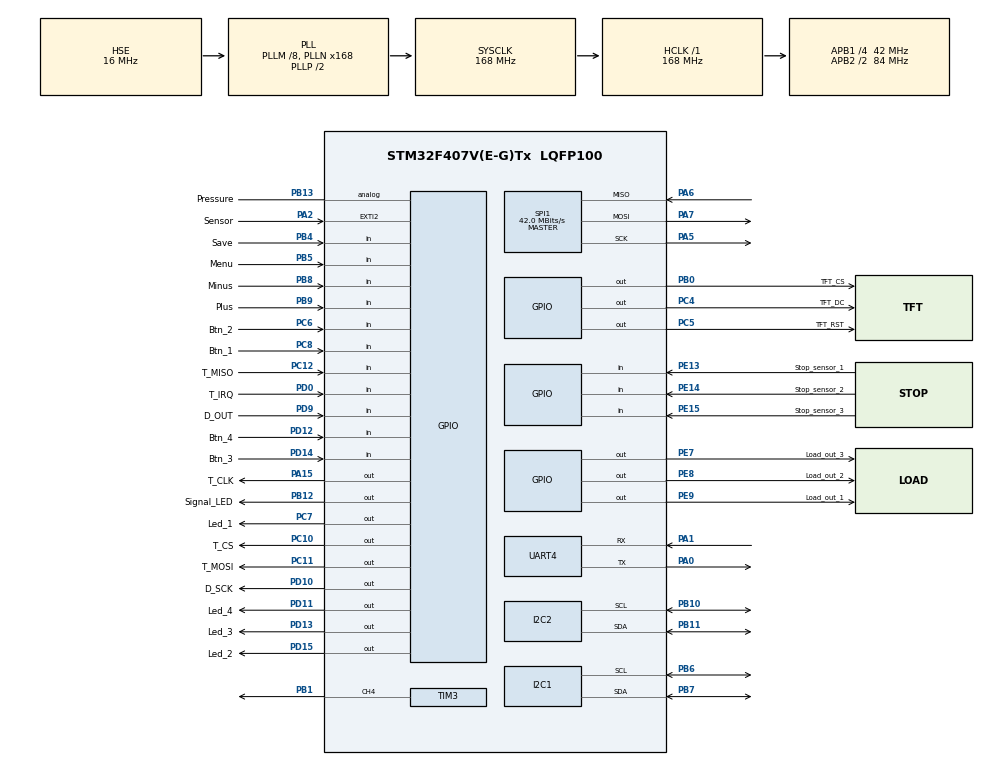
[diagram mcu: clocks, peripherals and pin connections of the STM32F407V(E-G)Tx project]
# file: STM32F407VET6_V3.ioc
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Mcu.Family=STM32F4
Mcu.Name=STM32F407V(E-G)Tx
Mcu.Package=LQFP100
NVIC.EXTI2_IRQn=true\:0\:0\:false\:false\:true\:true\:true
NVIC.PriorityGroup=NVIC_PRIORITYGROUP_4
NVIC.TIM1_UP_TIM10_IRQn=true\:0\:0\:false\:false\:true\:true\:true
NVIC.TIM2_IRQn=true\:0\:0\:false\:false\:true\:true\:true
NVIC.TIM3_IRQn=true\:0\:0\:false\:false\:true\:true\:true
PA0-WKUP.Mode=Asynchronous
PA0-WKUP.Signal=UART4_TX
PA1.Mode=Asynchronous
PA1.Signal=UART4_RX
PA13.Mode=Serial_Wire
PA13.Signal=SYS_JTMS-SWDIO
PA14.Mode=Serial_Wire
PA14.Signal=SYS_JTCK-SWCLK
PA15.GPIO_Label=T_CLK
PA15.Signal=GPIO_Output
PA2.GPIO_Label=Sensor
PA2.GPIO_PuPd=GPIO_PULLDOWN
PA2.Signal=GPXTI2
PA5.Mode=Full_Duplex_Master
PA5.Signal=SPI1_SCK
PA6.Mode=Full_Duplex_Master
PA6.Signal=SPI1_MISO
PA7.Mode=Full_Duplex_Master
PA7.Signal=SPI1_MOSI
PB0.GPIO_Label=TFT_CS
PB0.Signal=GPIO_Output
PB1.GPIO_Speed=GPIO_SPEED_FREQ_VERY_HIGH
PB1.Signal=S_TIM3_CH4
PB10.GPIO_Pu=GPIO_PULLUP
PB10.Mode=I2C
PB10.Signal=I2C2_SCL
PB11.GPIO_Pu=GPIO_PULLUP
PB11.Mode=I2C
PB11.Signal=I2C2_SDA
PB12.GPIO_Label=Signal_LED
PB12.GPIO_PuPd=GPIO_NOPULL
PB12.Signal=GPIO_Output
PB13.GPIO_Label=Pressure
PB13.Signal=GPIO_Analog
PB4.GPIO_Label=Save
PB4.Signal=GPIO_Input
PB5.GPIO_Label=Menu
PB5.Signal=GPIO_Input
PB6.GPIO_Pu=GPIO_PULLUP
PB6.Mode=I2C
PB6.Signal=I2C1_SCL
PB7.GPIO_Pu=GPIO_PULLUP
PB7.Mode=I2C
PB7.Signal=I2C1_SDA
PB8.GPIO_Label=Minus
PB8.Signal=GPIO_Input
PB9.GPIO_Label=Plus
PB9.Signal=GPIO_Input
PC10.GPIO_Label=T_CS
PC10.GPIO_Speed=GPIO_SPEED_FREQ_VERY_HIGH
PC10.Signal=GPIO_Output
PC11.GPIO_Label=T_MOSI
PC11.GPIO_Speed=GPIO_SPEED_FREQ_VERY_HIGH
PC11.Signal=GPIO_Output
PC12.GPIO_Label=T_MISO
PC12.Signal=GPIO_Input
PC14-OSC32_IN.Mode=LSE-External-Oscillator
PC14-OSC32_IN.Signal=RCC_OSC32_IN
PC15-OSC32_OUT.Mode=LSE-External-Oscillator
PC15-OSC32_OUT.Signal=RCC_OSC32_OUT
PC4.GPIO_Label=TFT_DC
PC4.Signal=GPIO_Output
PC5.GPIO_Label=TFT_RST
PC5.Signal=GPIO_Output
PC6.GPIO_Label=Btn_2
PC6.Signal=GPIO_Input
PC7.GPIO_Label=Led_1
PC7.Signal=GPIO_Output
PC8.GPIO_Label=Btn_1
PC8.Signal=GPIO_Input
PD0.GPIO_Label=T_IRQ
PD0.Signal=GPIO_Input
PD10.GPIO_Label=D_SCK
PD10.Signal=GPIO_Output
PD11.GPIO_Label=Led_4
PD11.Signal=GPIO_Output
PD12.GPIO_Label=Btn_4
PD12.Signal=GPIO_Input
PD13.GPIO_Label=Led_3
PD13.Signal=GPIO_Output
PD14.GPIO_Label=Btn_3
PD14.Signal=GPIO_Input
PD15.GPIO_Label=Led_2
PD15.Signal=GPIO_Output
PD9.GPIO_Label=D_OUT
PD9.Signal=GPIO_Input
PE13.GPIO_Label=Stop_sensor_1
PE13.GPIO_PuPd=GPIO_PULLDOWN
PE13.Signal=GPIO_Input
PE14.GPIO_Label=Stop_sensor_2
PE14.GPIO_PuPd=GPIO_PULLDOWN
PE14.Signal=GPIO_Input
PE15.GPIO_Label=Stop_sensor_3
PE15.GPIO_PuPd=GPIO_PULLDOWN
PE15.Signal=GPIO_Input
PE7.GPIO_Label=Load_out_3
PE7.Signal=GPIO_Output
PE8.GPIO_Label=Load_out_2
PE8.Signal=GPIO_Output
PE9.GPIO_Label=Load_out_1
PE9.Signal=GPIO_Output
PH0-OSC_IN.Mode=HSE-External-Oscillator
PH0-OSC_IN.Signal=RCC_OSC_IN
PH1-OSC_OUT.Mode=HSE-External-Oscillator
PH1-OSC_OUT.Signal=RCC_OSC_OUT
ProjectManager.HeapSize=0x200
ProjectManager.StackSize=0x400
ProjectManager.TargetToolchain=STM32CubeIDE
RCC.48MHZClocksFreq_Value=48000000
RCC.AHBFreq_Value=168000000
RCC.APB1CLKDivider=RCC_HCLK_DIV4
RCC.APB1Freq_Value=42000000
RCC.APB1TimFreq_Value=84000000
RCC.APB2CLKDivider=RCC_HCLK_DIV2
RCC.APB2Freq_Value=84000000
RCC.APB2TimFreq_Value=168000000
RCC.CortexFreq_Value=168000000
RCC.HCLKFreq_Value=168000000
RCC.HSE_VALUE=16000000
RCC.HSI_VALUE=16000000
RCC.PLLM=8
RCC.PLLN=168
RCC.PLLQ=7
RCC.PLLSourceVirtual=RCC_PLLSOURCE_HSE
RCC.SYSCLKFreq_VALUE=168000000
RCC.SYSCLKSource=RCC_SYSCLKSOURCE_PLLCLK
RCC.VCOOutputFreq_Value=336000000
SH.S_TIM3_CH4.0=TIM3_CH4,PWM Generation4 CH4
SPI1.CalculateBaudRate=42.0 MBits/s
SPI1.Direction=SPI_DIRECTION_2LINES
SPI1.Mode=SPI_MODE_MASTER
SPI1.VirtualType=VM_MASTER
TIM1.Period=99
TIM1.Prescaler=1679
TIM2.Period=29999
TIM2.Prescaler=1679
TIM3.Channel-PWM\ Generation4\ CH4=TIM_CHANNEL_4
TIM3.Period=10000
TIM3.Prescaler=83
TIM3.Pulse-PWM\ Generation4\ CH4=0
UART4.VirtualMode=Asynchronous
VP_TIM1_VS_ClockSourceINT.Mode=Internal
VP_TIM2_VS_ClockSourceINT.Mode=Internal
VP_TIM3_VS_ClockSourceINT.Mode=Internal
board=custom

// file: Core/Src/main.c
/* USER CODE BEGIN Header */
/**
  ******************************************************************************
  * @file           : main.c
  * @brief          : Main program body
  ******************************************************************************
  * @attention
  *
  * <h2><center>&copy; Copyright (c) 2021 STMicroelectronics.
  * All rights reserved.</center></h2>
  *
  * This software component is licensed by ST under BSD 3-Clause license,
  * the "License"; You may not use this file except in compliance with the
  * License. You may obtain a copy of the License at:
  *                        opensource.org/licenses/BSD-3-Clause
  *
  ******************************************************************************
  */
/* USER CODE END Header */
#include "main.h"
#include "i2c.h"
#include "spi.h"
#include "tim.h"
#include "usart.h"
#include "gpio.h"

/* USER CODE BEGIN Includes */

#include "pouring.h"

/* USER CODE END Includes */

/* USER CODE BEGIN PV */

uint32_t i, d;

/* USER CODE END PV */

void SystemClock_Config(void);

int main(void)
{

  /* MCU Configuration--------------------------------------------------------*/

  /* Reset of all peripherals, Initializes the Flash interface and the Systick. */
  HAL_Init();

  /* Configure the system clock */
  SystemClock_Config();

  /* Initialize all configured peripherals */
  MX_GPIO_Init();
  MX_I2C1_Init();
  MX_SPI1_Init();
  MX_I2C2_Init();
  MX_UART4_Init();
  MX_TIM3_Init();
  MX_TIM1_Init();
  MX_TIM2_Init();
  /* USER CODE BEGIN 2 */

  ILI9341_Init();
  ILI9341_Fill_Screen(BLUE );
  ILI9341_Set_Rotation(SCREEN_HORIZONTAL_1);
  ILI9341_Draw_Text("Ready to start", 20, 100, WHITE, 3, BLUE);

  load_init();

  //pwm_start_correction=8000;

  /* USER CODE END 2 */

  /* Infinite loop */
  /* USER CODE BEGIN WHILE */
  while (1)
  {

	  if(HAL_GPIO_ReadPin(GPIOC, GPIO_PIN_8)==0)
	  	  		{
	  		  	  ILI9341_Draw_Text("Button 1 ok", 10, 10, WHITE, 2, BLUE);
	  		  	  HAL_GPIO_WritePin(GPIOC, GPIO_PIN_7, GPIO_PIN_SET);

	  		  	  filling_cycle(volume_1, k_volume_1, gas_time_1, drainage_time_1);

	  	  		} else {

	  	  			HAL_GPIO_WritePin(GPIOC, GPIO_PIN_7, GPIO_PIN_RESET);
	  	  		}
	  	  if(HAL_GPIO_ReadPin(GPIOC, GPIO_PIN_6)==0)
	  	  	  		{
	  	  		  	  ILI9341_Draw_Text("Button 2 ok", 10, 10, WHITE, 2, BLUE);
	  	  		  	  HAL_GPIO_WritePin(GPIOD, GPIO_PIN_15, GPIO_PIN_SET);
	  	  		  	  filling_cycle(volume_2, k_volume_2, gas_time_2, drainage_time_2);
	  	  	  		} else {
	  	  	  			HAL_GPIO_WritePin(GPIOD, GPIO_PIN_15, GPIO_PIN_RESET);
	  	  	  		}
	  	  if(HAL_GPIO_ReadPin(GPIOD, GPIO_PIN_14)==0)
	  	  	  		{
	  	  		  	  ILI9341_Draw_Text("Button 3 ok", 10, 10, WHITE, 2, BLUE);
	  	  		  	  HAL_GPIO_WritePin(GPIOD, GPIO_PIN_13, GPIO_PIN_SET);
	  	  		  	  filling_cycle(volume_3, k_volume_3, gas_time_3, drainage_time_3);
	  	  	  		} else {

	  	  	  			HAL_GPIO_WritePin(GPIOD, GPIO_PIN_13, GPIO_PIN_RESET);
	  	  	  		}
	  	  if(HAL_GPIO_ReadPin(GPIOD, GPIO_PIN_12)==0)
	  	  	  		{

	  	  		  	  ILI9341_Draw_Text("Button 4 ok", 10, 10, WHITE, 2, BLUE);
	  	  		  	  HAL_GPIO_WritePin(GPIOD, GPIO_PIN_11, GPIO_PIN_SET);
	  	  		  	  filling_cycle(volume_4, k_volume_4, gas_time_4, drainage_time_4);
	  	  	  		} else {

	  	  	  			HAL_GPIO_WritePin(GPIOD, GPIO_PIN_11, GPIO_PIN_RESET);
	  	  	  		}

	  	  switch_menu();

    /* USER CODE END WHILE */

  }
}

void SystemClock_Config(void)
{
  RCC_OscInitTypeDef RCC_OscInitStruct = {0};
  RCC_ClkInitTypeDef RCC_ClkInitStruct = {0};

  /** Configure the main internal regulator output voltage
  */
  __HAL_RCC_PWR_CLK_ENABLE();
  __HAL_PWR_VOLTAGESCALING_CONFIG(PWR_REGULATOR_VOLTAGE_SCALE1);
  /** Initializes the RCC Oscillators according to the specified parameters
  * in the RCC_OscInitTypeDef structure.
  */
  RCC_OscInitStruct.OscillatorType = RCC_OSCILLATORTYPE_HSE;
  RCC_OscInitStruct.HSEState = RCC_HSE_ON;
  RCC_OscInitStruct.PLL.PLLState = RCC_PLL_ON;
  RCC_OscInitStruct.PLL.PLLSource = RCC_PLLSOURCE_HSE;
  RCC_OscInitStruct.PLL.PLLM = 8;
  RCC_OscInitStruct.PLL.PLLN = 168;
  RCC_OscInitStruct.PLL.PLLP = RCC_PLLP_DIV2;
  RCC_OscInitStruct.PLL.PLLQ = 7;
  if (HAL_RCC_OscConfig(&RCC_OscInitStruct) != HAL_OK)
  {
    Error_Handler();
  }
  /** Initializes the CPU, AHB and APB buses clocks
  */
  RCC_ClkInitStruct.ClockType = RCC_CLOCKTYPE_HCLK|RCC_CLOCKTYPE_SYSCLK
                              |RCC_CLOCKTYPE_PCLK1|RCC_CLOCKTYPE_PCLK2;
  RCC_ClkInitStruct.SYSCLKSource = RCC_SYSCLKSOURCE_PLLCLK;
  RCC_ClkInitStruct.AHBCLKDivider = RCC_SYSCLK_DIV1;
  RCC_ClkInitStruct.APB1CLKDivider = RCC_HCLK_DIV4;
  RCC_ClkInitStruct.APB2CLKDivider = RCC_HCLK_DIV2;

  if (HAL_RCC_ClockConfig(&RCC_ClkInitStruct, FLASH_LATENCY_5) != HAL_OK)
  {
    Error_Handler();
  }
}

void Error_Handler(void)
{
  __disable_irq();
  while (1)
  {
  }
}

/************************ (C) COPYRIGHT STMicroelectronics *****END OF FILE****/
